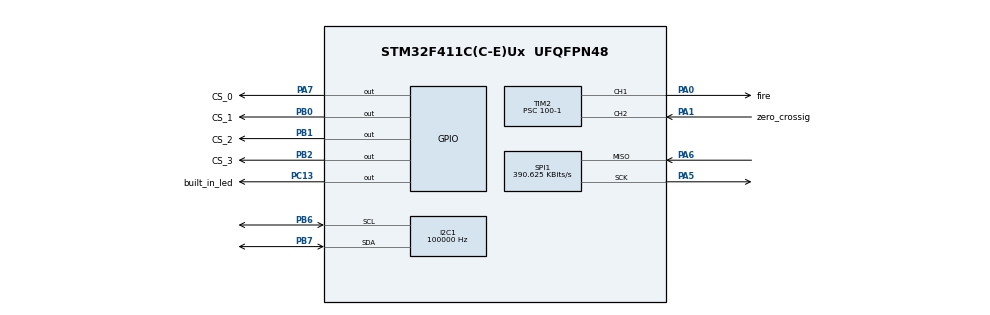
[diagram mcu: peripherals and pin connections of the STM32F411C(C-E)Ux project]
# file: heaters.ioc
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I2C1.ClockSpeed=100000
I2C1.I2C_Mode=I2C_Standard
I2C1.NoStretchMode=I2C_NOSTRETCH_ENABLE
I2C1.OwnAddress=64
Mcu.Family=STM32F4
Mcu.Name=STM32F411C(C-E)Ux
Mcu.Package=UFQFPN48
NVIC.PriorityGroup=NVIC_PRIORITYGROUP_4
NVIC.TIM3_IRQn=true\:0\:0\:false\:false\:true\:true\:true\:true
PA0-WKUP.GPIO_Label=fire
PA0-WKUP.Signal=S_TIM2_CH1_ETR
PA1.GPIO_Label=zero_crossig
PA1.Signal=S_TIM2_CH2
PA13.Mode=Serial_Wire
PA13.Signal=SYS_JTMS-SWDIO
PA14.Mode=Serial_Wire
PA14.Signal=SYS_JTCK-SWCLK
PA5.Mode=RX_Only_Simplex_Unidirect_Master
PA5.Signal=SPI1_SCK
PA6.Mode=RX_Only_Simplex_Unidirect_Master
PA6.Signal=SPI1_MISO
PA7.GPIO_Label=CS_0
PA7.GPIO_ModeDefaultOutputPP=GPIO_MODE_OUTPUT_PP
PA7.GPIO_PuPd=GPIO_PULLUP
PA7.PinState=GPIO_PIN_SET
PA7.Signal=GPIO_Output
PB0.GPIO_Label=CS_1
PB0.GPIO_ModeDefaultOutputPP=GPIO_MODE_OUTPUT_PP
PB0.GPIO_PuPd=GPIO_PULLUP
PB0.PinState=GPIO_PIN_SET
PB0.Signal=GPIO_Output
PB1.GPIO_Label=CS_2
PB1.GPIO_ModeDefaultOutputPP=GPIO_MODE_OUTPUT_PP
PB1.GPIO_PuPd=GPIO_PULLUP
PB1.GPIO_Speed=GPIO_SPEED_FREQ_LOW
PB1.PinState=GPIO_PIN_SET
PB1.Signal=GPIO_Output
PB2.GPIO_Label=CS_3
PB2.GPIO_ModeDefaultOutputPP=GPIO_MODE_OUTPUT_PP
PB2.GPIO_PuPd=GPIO_PULLUP
PB2.GPIO_Speed=GPIO_SPEED_FREQ_LOW
PB2.PinState=GPIO_PIN_SET
PB2.Signal=GPIO_Output
PB6.Mode=I2C
PB6.Signal=I2C1_SCL
PB7.Mode=I2C
PB7.Signal=I2C1_SDA
PC13-ANTI_TAMP.GPIO_Label=built_in_led
PC13-ANTI_TAMP.Signal=GPIO_Output
PC14-OSC32_IN.Mode=LSE-External-Oscillator
PC14-OSC32_IN.Signal=RCC_OSC32_IN
PC15-OSC32_OUT.Mode=LSE-External-Oscillator
PC15-OSC32_OUT.Signal=RCC_OSC32_OUT
PH0\ -\ OSC_IN.Mode=HSE-External-Oscillator
PH0\ -\ OSC_IN.Signal=RCC_OSC_IN
PH1\ -\ OSC_OUT.Mode=HSE-External-Oscillator
PH1\ -\ OSC_OUT.Signal=RCC_OSC_OUT
ProjectManager.HeapSize=0x200
ProjectManager.StackSize=0x400
ProjectManager.TargetToolchain=STM32CubeIDE
RCC.48MHZClocksFreq_Value=50000000
RCC.AHBFreq_Value=100000000
RCC.APB1CLKDivider=RCC_HCLK_DIV2
RCC.APB1Freq_Value=50000000
RCC.APB1TimFreq_Value=100000000
RCC.APB2Freq_Value=100000000
RCC.APB2TimFreq_Value=100000000
RCC.CortexFreq_Value=100000000
RCC.HCLKFreq_Value=100000000
RCC.HSE_VALUE=25000000
RCC.HSI_VALUE=16000000
RCC.PLLM=8
RCC.PLLN=100
RCC.SYSCLKFreq_VALUE=100000000
RCC.SYSCLKSource=RCC_SYSCLKSOURCE_PLLCLK
RCC.VCOOutputFreq_Value=200000000
SH.S_TIM2_CH1_ETR.0=TIM2_CH1,Output Compare1 CH1
SH.S_TIM2_CH2.0=TIM2_CH2,TriggerSource_TI2FP2
SPI1.BaudRatePrescaler=SPI_BAUDRATEPRESCALER_256
SPI1.CLKPhase=SPI_PHASE_1EDGE
SPI1.CLKPolarity=SPI_POLARITY_LOW
SPI1.CalculateBaudRate=390.625 KBits/s
SPI1.DataSize=SPI_DATASIZE_16BIT
SPI1.Direction=SPI_DIRECTION_2LINES_RXONLY
SPI1.Mode=SPI_MODE_MASTER
SPI1.VirtualType=VM_MASTER
TIM2.AutoReloadPreload=TIM_AUTORELOAD_PRELOAD_ENABLE
TIM2.Channel-Output\ Compare1\ CH1=TIM_CHANNEL_1
TIM2.Period=8300-1
TIM2.Prescaler=100-1
TIM2.Pulse-Output\ Compare1\ CH1=100
TIM2.Slave_TriggerFilter=15
TIM3.AutoReloadPreload=TIM_AUTORELOAD_PRELOAD_ENABLE
TIM3.Period=2500-1
TIM3.Prescaler=10000-1
VP_TIM1_VS_OPM.Mode=OPM_bit
VP_TIM2_VS_ClockSourceINT.Mode=Internal
VP_TIM2_VS_ControllerModeTrigger.Mode=Trigger Mode
VP_TIM2_VS_OPM.Mode=OPM_bit
VP_TIM3_VS_ClockSourceINT.Mode=Internal
board=custom

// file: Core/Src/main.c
/* USER CODE BEGIN Header */
/**
 ******************************************************************************
 * @file           : main.c
 * @brief          : Main program body
 ******************************************************************************
 * @attention
 *
 * Copyright (c) 2025 STMicroelectronics.
 * All rights reserved.
 *
 * This software is licensed under terms that can be found in the LICENSE file
 * in the root directory of this software component.
 * If no LICENSE file comes with this software, it is provided AS-IS.
 *
 ******************************************************************************
 */
/* USER CODE END Header */
#include "main.h"

/* USER CODE BEGIN Includes */
#include "pid.h"
#include "max6675.h"
#include "AS5048B.h"
#include "extrusor_process.h"
/* USER CODE END Includes */

I2C_HandleTypeDef hi2c1;

SPI_HandleTypeDef hspi1;

TIM_HandleTypeDef htim1;
TIM_HandleTypeDef htim2;
TIM_HandleTypeDef htim3;

/* USER CODE BEGIN PV */
// PID controller related
PIDController PID0;
PIDController PID1;
PIDController PID2;
PIDController PID_list[3] = {PID0, PID1, PID2};
float pipeSetpoints[3] = {0}; // Stores each sensor's setpoint
uint8_t timers_isr = 0x00;

// Sensors
float tempReadings[3] = {0}; // Stores each sensor's temperature
MAX6675_Driver_t tempSensors;

float angleReadings[2] = {0};
AS5048B_Driver_t encoderSensors;

/* USER CODE END PV */

void SystemClock_Config(void);
static void MX_GPIO_Init(void);
static void MX_SPI1_Init(void);
static void MX_TIM3_Init(void);
static void MX_TIM1_Init(void);
static void MX_TIM2_Init(void);
static void MX_I2C1_Init(void);

int main(void)
{

  /* MCU Configuration--------------------------------------------------------*/

  /* Reset of all peripherals, Initializes the Flash interface and the Systick. */
  HAL_Init();

  /* Configure the system clock */
  SystemClock_Config();

  /* Initialize all configured peripherals */
  MX_GPIO_Init();
  MX_SPI1_Init();
  MX_TIM3_Init();
  MX_TIM1_Init();
  MX_TIM2_Init();
  MX_I2C1_Init();
  /* USER CODE BEGIN 2 */

  PID_Init(&PID0,
           0,      // kp
           0,      // ki
           0,      // kd
           0,      // tau
           0,      // limMIN
           0,      // limMAX
           0,      // limMinInt
           0,      // limMaxInt
           0.250); // tsample
  PID_Init(&PID1,
           0,      // kp
           0,      // ki
           0,      // kd
           0,      // tau
           0,      // limMIN
           0,      // limMAX
           0,      // limMinInt
           0,      // limMaxInt
           0.250); // tsample
  PID_Init(&PID2,
           0,      // kp
           0,      // ki
           0,      // kd
           0,      // tau
           0,      // limMIN
           0,      // limMAX
           0,      // limMinInt
           0,      // limMaxInt
           0.250); // tsample

  // Themocuples initialization
  MAX6675_Init(&tempSensors, &hspi1);
  MAX6675_AddDevice(&tempSensors, 0);
  MAX6675_AddDevice(&tempSensors, 1);
  MAX6675_AddDevice(&tempSensors, 2);
  MAX6675_AddDevice(&tempSensors, 3);
  HAL_TIM_Base_Start_IT(&htim3);

  // Magnetic encoders initialization
  AS5048B_Init(&encoderSensors, &hi2c1);
  AS5048B_AddDevice(&encoderSensors, 0, 0X40);
  AS5048B_AddDevice(&encoderSensors, 1, 0X41);
  // find_dev_id_address(&encoderSensors);
  // AS5048B_CheckDiagnostics(&encoderSensors, 0);

  /* USER CODE END 2 */

  /* Infinite loop */
  while (1)
  {

    /* USER CODE BEGIN 3 */
    // Check bti0 for temperature sensing and PIDs feedback-input updates
    if (timers_isr & 0x01)
    {
      timers_isr &= ~0x01;

      // Sample temperatures
      for (uint8_t sensor = 0; sensor < 3; sensor++)
      {
        // Individual max6675 sensor's reading
        MAX6675_ReadTemperature(&tempSensors, sensor);
      }
      // Take each measurements and compute chamber's temperature
      for (uint8_t sensor = 0; sensor < 3; sensor++)
      {
        MAX6675_GetTemperature(&tempSensors, sensor, tempReadings + sensor);
      }
      // Update cascaded PIDs
      cascaded_PID_Update(PID_list, 3, pipeSetpoints, pipeSetpoints, tempReadings, 0.5);
    }

    // HEATERS

    // MOTORS
    angleReadings[0] = AS5048B_GetAngleDegrees(&encoderSensors, 0);
    AS5048B_UpdateRegisters(&encoderSensors, 0);

    /* USER CODE END 3 */
  }

  /**
   * @brief System Clock Configuration
   * @retval None
   */
  void SystemClock_Config(void)
  {
    RCC_OscInitTypeDef RCC_OscInitStruct = {0};
    RCC_ClkInitTypeDef RCC_ClkInitStruct = {0};

    /** Configure the main internal regulator output voltage
     */
    __HAL_RCC_PWR_CLK_ENABLE();
    __HAL_PWR_VOLTAGESCALING_CONFIG(PWR_REGULATOR_VOLTAGE_SCALE1);

    /** Initializes the RCC Oscillators according to the specified parameters
     * in the RCC_OscInitTypeDef structure.
     */
    RCC_OscInitStruct.OscillatorType = RCC_OSCILLATORTYPE_HSI;
    RCC_OscInitStruct.HSIState = RCC_HSI_ON;
    RCC_OscInitStruct.HSICalibrationValue = RCC_HSICALIBRATION_DEFAULT;
    RCC_OscInitStruct.PLL.PLLState = RCC_PLL_ON;
    RCC_OscInitStruct.PLL.PLLSource = RCC_PLLSOURCE_HSI;
    RCC_OscInitStruct.PLL.PLLM = 8;
    RCC_OscInitStruct.PLL.PLLN = 100;
    RCC_OscInitStruct.PLL.PLLP = RCC_PLLP_DIV2;
    RCC_OscInitStruct.PLL.PLLQ = 4;
    if (HAL_RCC_OscConfig(&RCC_OscInitStruct) != HAL_OK)
    {
      Error_Handler();
    }

    /** Initializes the CPU, AHB and APB buses clocks
     */
    RCC_ClkInitStruct.ClockType = RCC_CLOCKTYPE_HCLK | RCC_CLOCKTYPE_SYSCLK | RCC_CLOCKTYPE_PCLK1 | RCC_CLOCKTYPE_PCLK2;
    RCC_ClkInitStruct.SYSCLKSource = RCC_SYSCLKSOURCE_PLLCLK;
    RCC_ClkInitStruct.AHBCLKDivider = RCC_SYSCLK_DIV1;
    RCC_ClkInitStruct.APB1CLKDivider = RCC_HCLK_DIV2;
    RCC_ClkInitStruct.APB2CLKDivider = RCC_HCLK_DIV1;

    if (HAL_RCC_ClockConfig(&RCC_ClkInitStruct, FLASH_LATENCY_3) != HAL_OK)
    {
      Error_Handler();
    }
  }

  /**
   * @brief I2C1 Initialization Function
   * @param None
   * @retval None
   */
  static void MX_I2C1_Init(void)
  {

    hi2c1.Instance = I2C1;
    hi2c1.Init.ClockSpeed = 100000;
    hi2c1.Init.DutyCycle = I2C_DUTYCYCLE_2;
    hi2c1.Init.OwnAddress1 = 128;
    hi2c1.Init.AddressingMode = I2C_ADDRESSINGMODE_7BIT;
    hi2c1.Init.DualAddressMode = I2C_DUALADDRESS_DISABLE;
    hi2c1.Init.OwnAddress2 = 0;
    hi2c1.Init.GeneralCallMode = I2C_GENERALCALL_DISABLE;
    hi2c1.Init.NoStretchMode = I2C_NOSTRETCH_ENABLE;
    if (HAL_I2C_Init(&hi2c1) != HAL_OK)
    {
      Error_Handler();
    }
  }

  /**
   * @brief SPI1 Initialization Function
   * @param None
   * @retval None
   */
  static void MX_SPI1_Init(void)
  {

    /* SPI1 parameter configuration*/
    hspi1.Instance = SPI1;
    hspi1.Init.Mode = SPI_MODE_MASTER;
    hspi1.Init.Direction = SPI_DIRECTION_2LINES_RXONLY;
    hspi1.Init.DataSize = SPI_DATASIZE_16BIT;
    hspi1.Init.CLKPolarity = SPI_POLARITY_LOW;
    hspi1.Init.CLKPhase = SPI_PHASE_1EDGE;
    hspi1.Init.NSS = SPI_NSS_SOFT;
    hspi1.Init.BaudRatePrescaler = SPI_BAUDRATEPRESCALER_256;
    hspi1.Init.FirstBit = SPI_FIRSTBIT_MSB;
    hspi1.Init.TIMode = SPI_TIMODE_DISABLE;
    hspi1.Init.CRCCalculation = SPI_CRCCALCULATION_DISABLE;
    hspi1.Init.CRCPolynomial = 10;
    if (HAL_SPI_Init(&hspi1) != HAL_OK)
    {
      Error_Handler();
    }
  }

  /**
   * @brief TIM1 Initialization Function
   * @param None
   * @retval None
   */
  static void MX_TIM1_Init(void)
  {

    TIM_MasterConfigTypeDef sMasterConfig = {0};

    htim1.Instance = TIM1;
    htim1.Init.Prescaler = 0;
    htim1.Init.CounterMode = TIM_COUNTERMODE_UP;
    htim1.Init.Period = 65535;
    htim1.Init.ClockDivision = TIM_CLOCKDIVISION_DIV1;
    htim1.Init.RepetitionCounter = 0;
    htim1.Init.AutoReloadPreload = TIM_AUTORELOAD_PRELOAD_DISABLE;
    if (HAL_TIM_OnePulse_Init(&htim1, TIM_OPMODE_SINGLE) != HAL_OK)
    {
      Error_Handler();
    }
    sMasterConfig.MasterOutputTrigger = TIM_TRGO_RESET;
    sMasterConfig.MasterSlaveMode = TIM_MASTERSLAVEMODE_DISABLE;
    if (HAL_TIMEx_MasterConfigSynchronization(&htim1, &sMasterConfig) != HAL_OK)
    {
      Error_Handler();
    }
  }

  /**
   * @brief TIM2 Initialization Function
   * @param None
   * @retval None
   */
  static void MX_TIM2_Init(void)
  {

    TIM_ClockConfigTypeDef sClockSourceConfig = {0};
    TIM_SlaveConfigTypeDef sSlaveConfig = {0};
    TIM_MasterConfigTypeDef sMasterConfig = {0};
    TIM_OC_InitTypeDef sConfigOC = {0};

    htim2.Instance = TIM2;
    htim2.Init.Prescaler = 100 - 1;
    htim2.Init.CounterMode = TIM_COUNTERMODE_UP;
    htim2.Init.Period = 8300 - 1;
    htim2.Init.ClockDivision = TIM_CLOCKDIVISION_DIV1;
    htim2.Init.AutoReloadPreload = TIM_AUTORELOAD_PRELOAD_ENABLE;
    if (HAL_TIM_Base_Init(&htim2) != HAL_OK)
    {
      Error_Handler();
    }
    sClockSourceConfig.ClockSource = TIM_CLOCKSOURCE_INTERNAL;
    if (HAL_TIM_ConfigClockSource(&htim2, &sClockSourceConfig) != HAL_OK)
    {
      Error_Handler();
    }
    if (HAL_TIM_OC_Init(&htim2) != HAL_OK)
    {
      Error_Handler();
    }
    if (HAL_TIM_OnePulse_Init(&htim2, TIM_OPMODE_SINGLE) != HAL_OK)
    {
      Error_Handler();
    }
    sSlaveConfig.SlaveMode = TIM_SLAVEMODE_TRIGGER;
    sSlaveConfig.InputTrigger = TIM_TS_TI2FP2;
    sSlaveConfig.TriggerPolarity = TIM_TRIGGERPOLARITY_RISING;
    sSlaveConfig.TriggerFilter = 15;
    if (HAL_TIM_SlaveConfigSynchro(&htim2, &sSlaveConfig) != HAL_OK)
    {
      Error_Handler();
    }
    sMasterConfig.MasterOutputTrigger = TIM_TRGO_RESET;
    sMasterConfig.MasterSlaveMode = TIM_MASTERSLAVEMODE_DISABLE;
    if (HAL_TIMEx_MasterConfigSynchronization(&htim2, &sMasterConfig) != HAL_OK)
    {
      Error_Handler();
    }
    sConfigOC.OCMode = TIM_OCMODE_TIMING;
    sConfigOC.Pulse = 100;
    sConfigOC.OCPolarity = TIM_OCPOLARITY_HIGH;
    sConfigOC.OCFastMode = TIM_OCFAST_DISABLE;
    if (HAL_TIM_OC_ConfigChannel(&htim2, &sConfigOC, TIM_CHANNEL_1) != HAL_OK)
    {
      Error_Handler();
    }
    HAL_TIM_MspPostInit(&htim2);
  }

  /**
   * @brief TIM3 Initialization Function
   * @param None
   * @retval None
   */
  static void MX_TIM3_Init(void)
  {

    TIM_ClockConfigTypeDef sClockSourceConfig = {0};
    TIM_MasterConfigTypeDef sMasterConfig = {0};

    htim3.Instance = TIM3;
    htim3.Init.Prescaler = 10000 - 1;
    htim3.Init.CounterMode = TIM_COUNTERMODE_UP;
    htim3.Init.Period = 2500 - 1;
    htim3.Init.ClockDivision = TIM_CLOCKDIVISION_DIV1;
    htim3.Init.AutoReloadPreload = TIM_AUTORELOAD_PRELOAD_ENABLE;
    if (HAL_TIM_Base_Init(&htim3) != HAL_OK)
    {
      Error_Handler();
    }
    sClockSourceConfig.ClockSource = TIM_CLOCKSOURCE_INTERNAL;
    if (HAL_TIM_ConfigClockSource(&htim3, &sClockSourceConfig) != HAL_OK)
    {
      Error_Handler();
    }
    sMasterConfig.MasterOutputTrigger = TIM_TRGO_RESET;
    sMasterConfig.MasterSlaveMode = TIM_MASTERSLAVEMODE_DISABLE;
    if (HAL_TIMEx_MasterConfigSynchronization(&htim3, &sMasterConfig) != HAL_OK)
    {
      Error_Handler();
    }
  }

  /**
   * @brief GPIO Initialization Function
   * @param None
   * @retval None
   */
  static void MX_GPIO_Init(void)
  {
    GPIO_InitTypeDef GPIO_InitStruct = {0};

    /* GPIO Ports Clock Enable */
    __HAL_RCC_GPIOC_CLK_ENABLE();
    __HAL_RCC_GPIOH_CLK_ENABLE();
    __HAL_RCC_GPIOA_CLK_ENABLE();
    __HAL_RCC_GPIOB_CLK_ENABLE();

    /*Configure GPIO pin Output Level */
    HAL_GPIO_WritePin(built_in_led_GPIO_Port, built_in_led_Pin, GPIO_PIN_RESET);

    /*Configure GPIO pin Output Level */
    HAL_GPIO_WritePin(CS_0_GPIO_Port, CS_0_Pin, GPIO_PIN_SET);

    /*Configure GPIO pin Output Level */
    HAL_GPIO_WritePin(GPIOB, CS_1_Pin | CS_2_Pin | CS_3_Pin, GPIO_PIN_SET);

    /*Configure GPIO pin : built_in_led_Pin */
    GPIO_InitStruct.Pin = built_in_led_Pin;
    GPIO_InitStruct.Mode = GPIO_MODE_OUTPUT_PP;
    GPIO_InitStruct.Pull = GPIO_NOPULL;
    GPIO_InitStruct.Speed = GPIO_SPEED_FREQ_LOW;
    HAL_GPIO_Init(built_in_led_GPIO_Port, &GPIO_InitStruct);

    /*Configure GPIO pin : CS_0_Pin */
    GPIO_InitStruct.Pin = CS_0_Pin;
    GPIO_InitStruct.Mode = GPIO_MODE_OUTPUT_PP;
    GPIO_InitStruct.Pull = GPIO_PULLUP;
    GPIO_InitStruct.Speed = GPIO_SPEED_FREQ_LOW;
    HAL_GPIO_Init(CS_0_GPIO_Port, &GPIO_InitStruct);

    /*Configure GPIO pins : CS_1_Pin CS_2_Pin CS_3_Pin */
    GPIO_InitStruct.Pin = CS_1_Pin | CS_2_Pin | CS_3_Pin;
    GPIO_InitStruct.Mode = GPIO_MODE_OUTPUT_PP;
    GPIO_InitStruct.Pull = GPIO_PULLUP;
    GPIO_InitStruct.Speed = GPIO_SPEED_FREQ_LOW;
    HAL_GPIO_Init(GPIOB, &GPIO_InitStruct);

  }

  /* USER CODE BEGIN 4 */
  // ISR
  void HAL_TIM_PeriodElapsedCallback(TIM_HandleTypeDef * htim)
  {
    if (htim == &htim3)
    {
      timers_isr |= 0x01;
    }
  }
  /* USER CODE END 4 */

  /**
   * @brief  This function is executed in case of error occurrence.
   * @retval None
   */
  void Error_Handler(void)
  {
    __disable_irq();
    while (1)
    {
    }
  }
